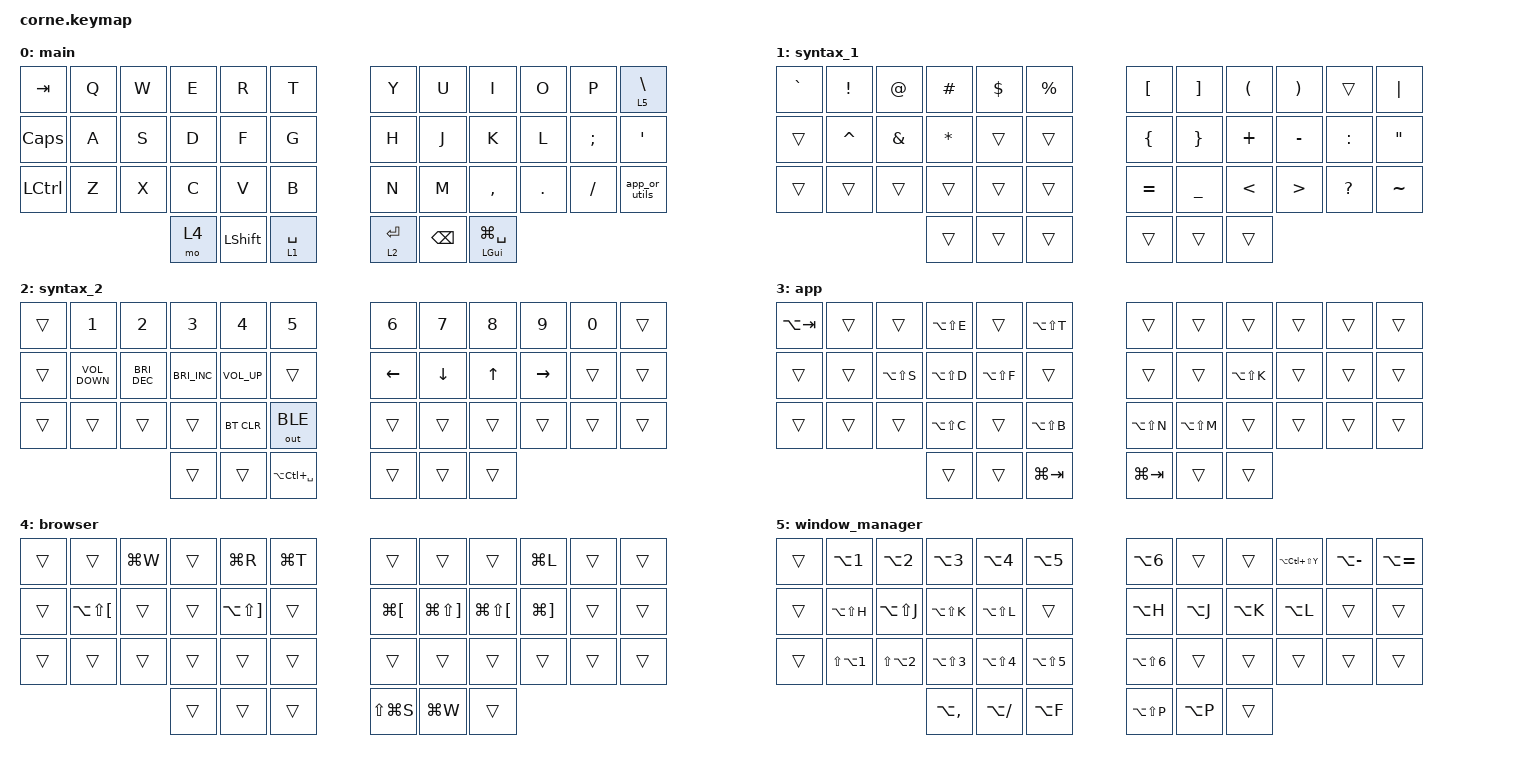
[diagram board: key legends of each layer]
/*
 * Copyright (c) 2020 The ZMK Contributors
 *
 * SPDX-License-Identifier: MIT
 */

#include <behaviors.dtsi>
#include <dt-bindings/zmk/bt.h>
#include <dt-bindings/zmk/keys.h>
#include <dt-bindings/zmk/outputs.h>

/ {
    behaviors {
        app_or_utils: app_or_utils {
            compatible = "zmk,behavior-tap-dance";
            label = "APP_OR_UTILS";
            #binding-cells = <0>;
            bindings = <&mo 3>, <&kp LC(LEFT_ALT)>;
        };
    };

    keymap {
        compatible = "zmk,keymap";

        main {
            // -----------------------------------------------------------------------------------------
            // |  TAB |  Q  |  W  |  E  |  R  |  T  |   |  Y  |  U   |  I  |  O  |  P  | BSPC |
            // | CTRL |  A  |  S  |  D  |  F  |  G  |   |  H  |  J   |  K  |  L  |  ;  |  '   |
            // | SHFT |  Z  |  X  |  C  |  V  |  B  |   |  N  |  M   |  ,  |  .  |  /  | ESC  |
            //                    | GUI | LWR | SPC |   | ENT | RSE  | ALT |

            bindings = <
&kp TAB           &kp Q  &kp W  &kp E  &kp R           &kp T          &kp Y        &kp U          &kp I                   &kp O    &kp P     &lt 5 BACKSLASH
&kp CAPSLOCK      &kp A  &kp S  &kp D  &kp F           &kp G          &kp H        &kp J          &kp K                   &kp L    &kp SEMI  &kp SINGLE_QUOTE
&kp LEFT_CONTROL  &kp Z  &kp X  &kp C  &kp V           &kp B          &kp N        &kp M          &kp COMMA               &kp DOT  &kp FSLH  &app_or_utils
                                &mo 4  &kp LEFT_SHIFT  &lt 1 SPACE    &lt 2 ENTER  &kp BACKSPACE  &mt LEFT_GUI LG(SPACE)
            >;
        };

        syntax_1 {
            bindings = <
&kp GRAVE  &kp EXCLAMATION  &kp AT_SIGN    &kp HASH      &kp DOLLAR  &kp PERCENT    &kp LEFT_BRACKET  &kp RIGHT_BRACKET  &kp LEFT_PARENTHESIS  &kp RIGHT_PARENTHESIS  &trans        &kp PIPE
&trans     &kp CARET        &kp AMPERSAND  &kp ASTERISK  &trans      &trans         &kp LEFT_BRACE    &kp RIGHT_BRACE    &kp PLUS              &kp MINUS              &kp COLON     &kp DOUBLE_QUOTES
&trans     &trans           &trans         &trans        &trans      &trans         &kp EQUAL         &kp UNDERSCORE     &kp LESS_THAN         &kp GREATER_THAN       &kp QUESTION  &kp TILDE
                                           &trans        &trans      &trans         &trans            &trans             &trans
            >;
        };

        syntax_2 {
            bindings = <
&trans  &kp NUMBER_1       &kp NUMBER_2          &kp NUMBER_3          &kp NUMBER_4     &kp N5               &kp NUMBER_6  &kp N7    &kp N8        &kp N9     &kp N0  &trans
&trans  &kp C_VOLUME_DOWN  &kp C_BRIGHTNESS_DEC  &kp C_BRIGHTNESS_INC  &kp C_VOLUME_UP  &trans               &kp LEFT      &kp DOWN  &kp UP_ARROW  &kp RIGHT  &trans  &trans
&trans  &trans             &trans                &trans                &bt BT_CLR       &out OUT_BLE         &trans        &trans    &trans        &trans     &trans  &trans
                                                 &trans                &trans           &kp LA(LC(SPACE))    &trans        &trans    &trans
            >;
        };

        app {
            bindings = <
&kp LA(TAB)  &trans  &trans         &kp LA(LS(E))  &trans         &kp LA(LS(T))    &trans         &trans         &trans         &trans  &trans  &trans
&trans       &trans  &kp LA(LS(S))  &kp LA(LS(D))  &kp LA(LS(F))  &trans           &trans         &trans         &kp LA(LS(K))  &trans  &trans  &trans
&trans       &trans  &trans         &kp LA(LS(C))  &trans         &kp LA(LS(B))    &kp LA(LS(N))  &kp LA(LS(M))  &trans         &trans  &trans  &trans
                                    &trans         &trans         &kp LG(TAB)      &kp LG(TAB)    &trans         &trans
            >;
        };

        browser {
            bindings = <
&trans  &trans                    &kp LG(W)  &trans  &kp LG(R)                  &kp LG(T)    &trans                &trans                     &trans                    &kp LG(L)              &trans  &trans
&trans  &kp LA(LS(LEFT_BRACKET))  &trans     &trans  &kp LA(LS(RIGHT_BRACKET))  &trans       &kp LG(LEFT_BRACKET)  &kp LG(LS(RIGHT_BRACKET))  &kp LG(LS(LEFT_BRACKET))  &kp LG(RIGHT_BRACKET)  &trans  &trans
&trans  &trans                    &trans     &trans  &trans                     &trans       &trans                &trans                     &trans                    &trans                 &trans  &trans
                                             &trans  &trans                     &trans       &kp LS(LG(S))         &kp LG(W)                  &trans
            >;
        };

        window_manager {
            bindings = <
&trans  &kp LA(NUMBER_1)      &kp LA(NUMBER_2)      &kp LA(NUMBER_3)      &kp LA(NUMBER_4)      &kp LA(N5)        &kp LA(NUMBER_6)      &trans     &trans     &kp LA(LC(LS(Y)))  &kp LA(MINUS)  &kp LA(EQUAL)
&trans  &kp LA(LS(H))         &kp LA(LS(J))         &kp LA(LS(K))         &kp LA(LS(L))         &trans            &kp LA(H)             &kp LA(J)  &kp LA(K)  &kp LA(L)          &trans         &trans
&trans  &kp LS(LA(NUMBER_1))  &kp LS(LA(NUMBER_2))  &kp LA(LS(NUMBER_3))  &kp LA(LS(NUMBER_4))  &kp LA(LS(N5))    &kp LA(LS(NUMBER_6))  &trans     &trans     &trans             &trans         &trans
                                                    &kp LA(COMMA)         &kp LA(SLASH)         &kp LA(F)         &kp LA(LS(P))         &kp LA(P)  &trans
            >;
        };
    };
};
